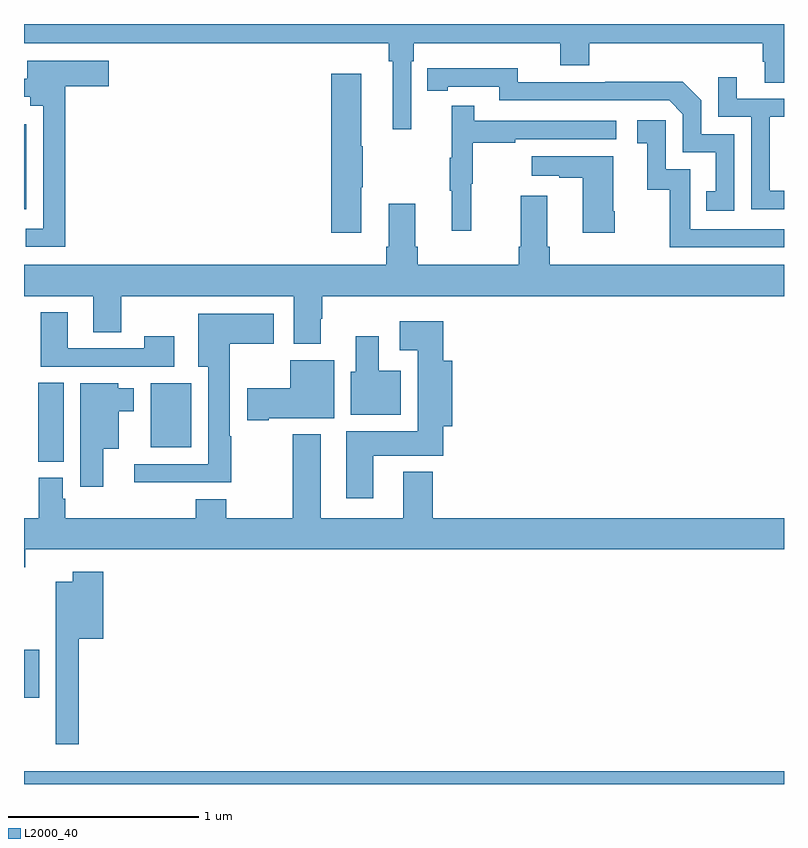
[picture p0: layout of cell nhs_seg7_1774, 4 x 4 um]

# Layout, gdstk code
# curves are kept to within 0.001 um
import gdstk
lib = gdstk.Library(unit=1e-6, precision=1e-09)
def R(c, l, rs):  # rectangles x0, y0, x1, y1
    for r in rs: c.add(gdstk.rectangle(r[:2], r[2:], *l))
def P(c, l, *ps):  # polygons
    for p in ps: c.add(gdstk.Polygon(p, *l))
L2000_40 = (2000, 40)

nhs_seg7_1774 = lib.new_cell('nhs_seg7_1774')
R(nhs_seg7_1774, L2000_40, [(231,1046,235,1046.068), (231,1046.453,231.079,1046.707), (231.074,1047.697,231.208,1048.112), (231.668,1047.773,231.88,1048.108), (231,1049.025,231.013,1049.473)])
P(nhs_seg7_1774, L2000_40, [(231,1049.9),(232.921,1049.9),(232.921,1049.804),(232.94,1049.804),(232.94,1049.445),(233.037,1049.445),(233.037,1049.804),(233.051,1049.804),(233.051,1049.9),(233.822,1049.9),(233.822,1049.783),(233.975,1049.783),(233.975,1049.9),(234.887,1049.9),(234.887,1049.802),(234.899,1049.802),(234.899,1049.692),(235,1049.692),(235,1050),(231,1050)],
  [(231.218,1049.672),(231.445,1049.672),(231.445,1049.806),(231.017,1049.806),(231.017,1049.712),(231,1049.712),(231,1049.616),(231.032,1049.616),(231.032,1049.57),(231.102,1049.57),(231.102,1048.923),(231.009,1048.923),(231.009,1048.827),(231.218,1048.827)],
  [(234.738,1049.421),(234.564,1049.421),(234.564,1049.598),(234.466,1049.696),(234.058,1049.696),(234.058,1049.694),(233.598,1049.694),(233.598,1049.767),(233.122,1049.766),(233.122,1049.65),(233.23,1049.65),(233.23,1049.67),(233.502,1049.67),(233.502,1049.598),(234.396,1049.598),(234.468,1049.526),(234.468,1049.325),(234.641,1049.325),(234.641,1049.121),(234.592,1049.121),(234.592,1049.016),(234.738,1049.016)],
  [(232.774,1049.14),(232.782,1049.14),(232.782,1049.357),(232.774,1049.357),(232.774,1049.737),(232.616,1049.737),(232.616,1048.902),(232.774,1048.902)],
  [(235,1049.122),(234.924,1049.122),(234.924,1049.511),(235,1049.511),(235,1049.607),(234.751,1049.607),(234.751,1049.719),(234.654,1049.719),(234.654,1049.511),(234.828,1049.511),(234.828,1049.025),(235,1049.025)],
  [(233.354,1049.16),(233.362,1049.16),(233.362,1049.374),(233.585,1049.374),(233.585,1049.394),(234.118,1049.394),(234.118,1049.49),(233.369,1049.49),(233.369,1049.569),(233.252,1049.569),(233.252,1049.297),(233.241,1049.297),(233.241,1049.123),(233.252,1049.123),(233.252,1048.911),(233.354,1048.911)],
  [(235,1048.92),(234.507,1048.92),(234.507,1049.235),(234.378,1049.235),(234.378,1049.494),(234.228,1049.494),(234.228,1049.373),(234.281,1049.373),(234.281,1049.127),(234.399,1049.127),(234.399,1048.824),(235,1048.824)],
  [(234.108,1049.014),(234.1,1049.014),(234.1,1049.305),(233.673,1049.305),(233.673,1049.201),(233.816,1049.201),(233.816,1049.191),(233.942,1049.191),(233.942,1048.902),(234.108,1048.902)],
  [(232.561,1048.448),(232.569,1048.448),(232.569,1048.568),(235,1048.568),(235,1048.732),(233.768,1048.732),(233.768,1048.828),(233.755,1048.828),(233.755,1049.095),(233.615,1049.095),(233.615,1048.828),(233.603,1048.828),(233.603,1048.732),(233.072,1048.732),(233.072,1048.828),(233.059,1048.828),(233.059,1049.053),(232.919,1049.053),(232.919,1048.828),(232.907,1048.828),(232.907,1048.732),(231,1048.732),(231,1048.568),(231.365,1048.568),(231.365,1048.378),(231.513,1048.378),(231.513,1048.568),(232.421,1048.568),(232.421,1048.316),(232.561,1048.316)],
  [(231.79,1048.357),(231.634,1048.357),(231.634,1048.293),(231.229,1048.293),(231.229,1048.483),(231.089,1048.483),(231.089,1048.197),(231.79,1048.197)],
  [(232.092,1047.83),(232.084,1047.83),(232.084,1048.316),(232.315,1048.316),(232.315,1048.474),(231.917,1048.474),(231.917,1048.196),(231.971,1048.196),(231.971,1047.684),(231.579,1047.684),(231.579,1047.587),(232.092,1047.587)],
  [(232.837,1047.728),(233.207,1047.728),(233.207,1047.884),(233.254,1047.884),(233.254,1048.228),(233.207,1048.228),(233.207,1048.435),(232.977,1048.435),(232.977,1048.283),(233.072,1048.283),(233.072,1047.856),(232.697,1047.856),(232.697,1047.504),(232.837,1047.504)],
  [(232.984,1048.174),(232.867,1048.174),(232.867,1048.357),(232.745,1048.357),(232.745,1048.17),(232.721,1048.17),(232.721,1047.944),(232.984,1047.944)],
  [(232.288,1047.926),(232.633,1047.926),(232.633,1048.231),(232.4,1048.231),(232.4,1048.084),(232.176,1048.084),(232.176,1047.914),(232.288,1047.914)],
  [(231.418,1047.764),(231.499,1047.764),(231.499,1047.962),(231.577,1047.962),(231.577,1048.084),(231.495,1048.084),(231.495,1048.108),(231.296,1048.108),(231.296,1047.564),(231.418,1047.564)],
  [(231.007,1047.236),(235,1047.236),(235,1047.4),(233.15,1047.4),(233.15,1047.643),(232.997,1047.643),(232.997,1047.4),(232.561,1047.4),(232.561,1047.841),(232.414,1047.841),(232.414,1047.4),(232.065,1047.4),(232.065,1047.499),(231.905,1047.499),(231.905,1047.4),(231.218,1047.4),(231.218,1047.501),(231.205,1047.501),(231.205,1047.612),(231.077,1047.612),(231.077,1047.4),(231,1047.4),(231,1047.14),(231.007,1047.14)],
  [(231.289,1046.765),(231.418,1046.765),(231.418,1047.118),(231.257,1047.118),(231.257,1047.064),(231.167,1047.064),(231.167,1046.208),(231.289,1046.208)])

lib.write_gds('nhs_seg7_1774.gds')
